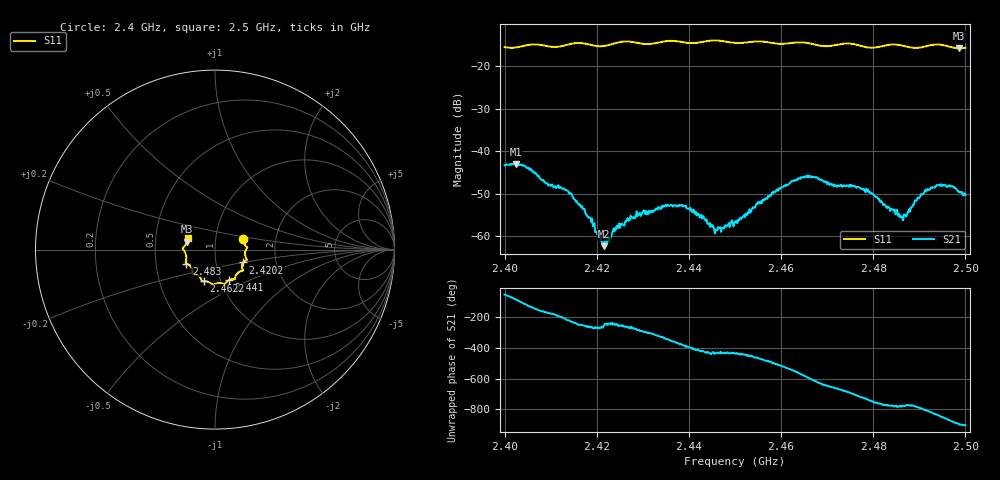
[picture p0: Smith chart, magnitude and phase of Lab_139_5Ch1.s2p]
# Hz S RI R 50
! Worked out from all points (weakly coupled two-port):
!   601 points, 2.4 GHz to 2.5 GHz, reference 50 ohm
!   highest |S21| = -42.98 dB at 2.4025 GHz (marker M1); lowest = -62.3 dB at 2.4215 GHz (marker M2)
!   lowest |S11| = -15.8 dB at 2.4987 GHz (marker M3), VSWR 1.39, Z = 36.4 + j3.27 ohm
!   |S11| at or under -10 dB: start of sweep to end of sweep
!   S12 and S22 are empty: the file has one direction only
!   S11 on the Smith chart (normalised r, x): 2.4 GHz: 1.36, +0.17; 2.4202 GHz: 1.35, -0.20; 2.441 GHz: 1.10, -0.39; 2.4622 GHz: 0.83, -0.30; 2.483 GHz: 0.72, -0.12; 2.5 GHz: 0.73, +0.09
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2.4e9  0.1565 0.0607  0.00412 -0.00544  0 0  0 0
2.4025e9  0.1633 0.0313  0.000375 -0.00709  0 0  0 0
2.413333e9  0.1719 -0.0438  -0.0029 0.00201  0 0  0 0
2.416667e9  0.1777 -0.058  -0.000725 0.00205  0 0  0 0
2.420167e9  0.1563 -0.0718  -5.88e-05 0.00105  0 0  0 0
2.4215e9  0.1504 -0.0841  -0.000158 0.000747  0 0  0 0
2.427e9  0.1559 -0.117  4.84e-05 0.00161  0 0  0 0
2.433333e9  0.1128 -0.1522  0.00174 0.00135  0 0  0 0
2.4385e9  0.1 -0.1645  0.00222 -0.000745  0 0  0 0
2.441e9  0.0769 -0.1705  0.00149 -0.00142  0 0  0 0
2.445667e9  0.0526 -0.1939  0.000202 -0.00106  0 0  0 0
2.45e9  0.0269 -0.1861  0.000304 -0.00146  0 0  0 0
2.462167e9  -0.063 -0.1763  -0.00437 0.000183  0 0  0 0
2.466667e9  -0.0764 -0.1668  -0.00208 0.00463  0 0  0 0
2.479e9  -0.1298 -0.1031  0.0031 -0.00118  0 0  0 0
2.483e9  -0.1591 -0.0779  0.00121 -0.00177  0 0  0 0
2.483333e9  -0.1606 -0.0775  0.0012 -0.00185  0 0  0 0
2.486333e9  -0.1618 -0.0656  0.00089 -0.00139  0 0  0 0
2.492167e9  -0.1754 -0.0014  -0.000319 -0.00348  0 0  0 0
2.495167e9  -0.1768 0.0113  -0.00274 -0.00293  0 0  0 0
2.498667e9  -0.1558 0.0438  -0.00337 -9.02e-05  0 0  0 0
2.5e9  -0.1531 0.0626  -0.00303 0.000201  0 0  0 0
